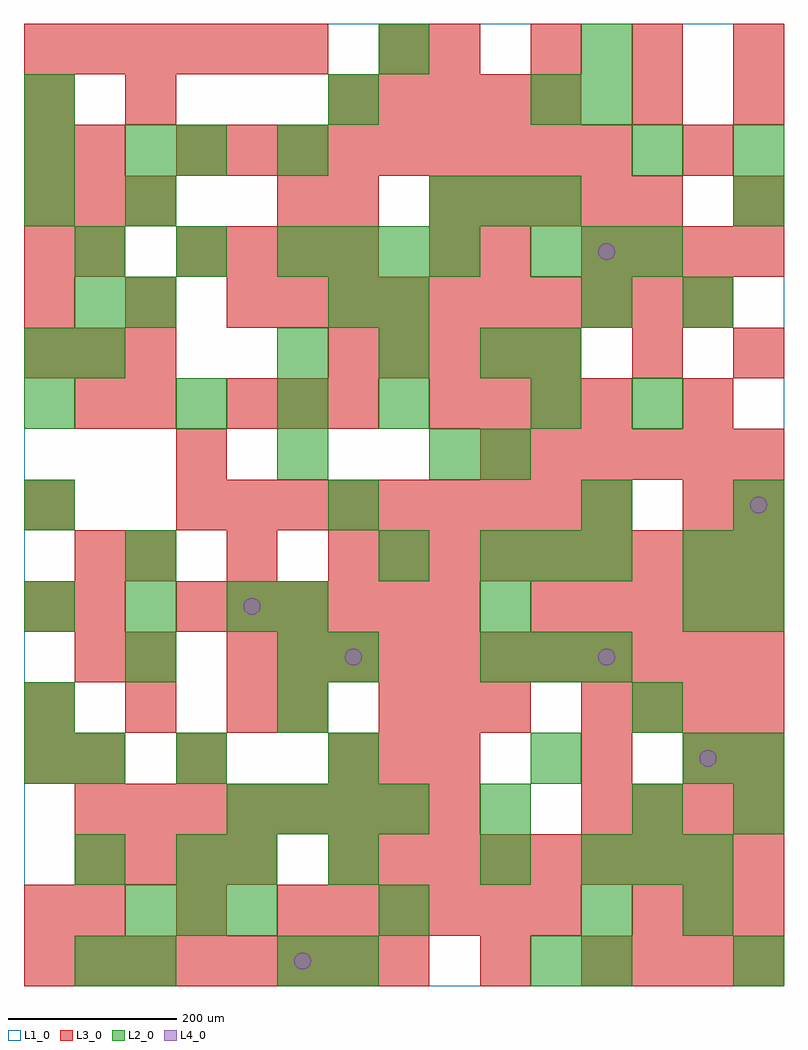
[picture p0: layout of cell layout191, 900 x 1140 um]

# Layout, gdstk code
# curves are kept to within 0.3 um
import gdstk
lib = gdstk.Library(unit=1e-6, precision=1e-09)
def R(c, l, rs):  # rectangles x0, y0, x1, y1
    for r in rs: c.add(gdstk.rectangle(r[:2], r[2:], *l))
def A(c, l, x, y, w, h, nx, ny, dx, dy):  # array of equal rectangles
    R(c, l, [(x+i*dx, y+j*dy, x+i*dx+w, y+j*dy+h) for i in range(nx) for j in range(ny)])
def P(c, l, *ps):  # polygons
    for p in ps: c.add(gdstk.Polygon(p, *l))
L1_0 = (1, 0)
L2_0 = (2, 0)
L3_0 = (3, 0)
L4_0 = (4, 0)

layout191 = lib.new_cell('layout191')
R(layout191, L1_0, [(0,0,900,1140)])
A(layout191, L2_0, 60, 0, 60, 60, 1, 3, 0, 120)
A(layout191, L2_0, 360, 0, 60, 60, 1, 4, 0, 120)
A(layout191, L2_0, 120, 60, 60, 60, 3, 1, 60, 0)
A(layout191, L2_0, 660, 120, 60, 60, 3, 1, 60, 0)
A(layout191, L2_0, 240, 180, 60, 60, 4, 1, 60, 0)
A(layout191, L2_0, 540, 360, 60, 60, 3, 2, 60, 120)
A(layout191, L2_0, 0, 420, 60, 60, 3, 1, 120, 0)
A(layout191, L2_0, 300, 420, 60, 60, 3, 1, 240, 0)
A(layout191, L2_0, 840, 420, 60, 60, 1, 3, 0, 60)
A(layout191, L2_0, 420, 480, 60, 60, 1, 3, 0, 300)
A(layout191, L2_0, 360, 540, 60, 60, 1, 3, 0, 240)
A(layout191, L2_0, 660, 540, 60, 60, 1, 3, 0, 240)
A(layout191, L2_0, 180, 660, 60, 60, 3, 1, 120, 0)
A(layout191, L2_0, 300, 720, 60, 60, 3, 1, 120, 0)
A(layout191, L2_0, 60, 840, 60, 60, 3, 1, 120, 0)
A(layout191, L2_0, 360, 840, 60, 60, 3, 1, 60, 0)
A(layout191, L2_0, 600, 840, 60, 60, 3, 1, 60, 0)
A(layout191, L2_0, 0, 900, 60, 60, 1, 3, 0, 60)
A(layout191, L2_0, 480, 900, 60, 60, 3, 1, 60, 0)
R(layout191, L2_0, [(120,0,180,60), (300,0,360,60), (600,0,660,60), (660,0,720,60), (840,0,900,60), (420,60,480,120), (660,60,720,120), (780,60,840,120), (180,120,240,180), (240,120,300,180), (540,120,600,180), (540,180,600,240), (720,180,780,240), (840,180,900,240), (0,240,60,300), (180,240,240,300), (600,240,660,300), (780,240,840,300), (840,240,900,300), (0,300,60,360), (300,300,360,360), (720,300,780,360), (120,360,180,420), (300,360,360,420), (120,480,180,540), (780,480,840,540), (0,540,60,600), (300,600,360,660), (480,600,540,660), (540,600,600,660), (0,660,60,720), (600,660,660,720), (720,660,780,720), (0,720,60,780), (60,720,120,780), (600,720,660,780), (60,780,120,840), (120,780,180,840), (780,780,840,840), (120,900,180,960), (840,900,900,960), (120,960,180,1020), (180,960,240,1020), (300,960,360,1020), (720,960,780,1020), (840,960,900,1020), (600,1020,660,1080), (660,1080,720,1140)])
A(layout191, L3_0, 0, 0, 60, 60, 8, 1, 60, 0)
A(layout191, L3_0, 660, 0, 60, 60, 4, 2, 60, 180)
A(layout191, L3_0, 0, 60, 60, 60, 1, 3, 0, 180)
A(layout191, L3_0, 60, 60, 60, 60, 3, 1, 120, 0)
A(layout191, L3_0, 360, 60, 60, 60, 5, 2, 60, 660)
A(layout191, L3_0, 720, 60, 60, 60, 3, 1, 60, 0)
A(layout191, L3_0, 60, 120, 60, 60, 4, 1, 60, 0)
A(layout191, L3_0, 360, 120, 60, 60, 9, 1, 60, 0)
A(layout191, L3_0, 60, 180, 60, 60, 8, 1, 60, 0)
A(layout191, L3_0, 360, 240, 60, 60, 3, 1, 60, 0)
A(layout191, L3_0, 0, 300, 60, 60, 3, 2, 120, 480)
A(layout191, L3_0, 420, 300, 60, 60, 3, 1, 60, 0)
A(layout191, L3_0, 660, 300, 60, 60, 4, 2, 60, 540)
A(layout191, L3_0, 60, 360, 60, 60, 1, 3, 0, 60)
A(layout191, L3_0, 240, 360, 60, 60, 11, 1, 60, 0)
A(layout191, L3_0, 180, 420, 60, 60, 6, 1, 60, 0)
A(layout191, L3_0, 600, 420, 60, 60, 5, 1, 60, 0)
A(layout191, L3_0, 120, 480, 60, 60, 3, 1, 120, 0)
A(layout191, L3_0, 420, 480, 60, 60, 8, 1, 60, 0)
A(layout191, L3_0, 180, 540, 60, 60, 9, 2, 60, 420)
A(layout191, L3_0, 840, 540, 60, 60, 1, 3, 0, 180)
A(layout191, L3_0, 540, 600, 60, 60, 6, 1, 60, 0)
A(layout191, L3_0, 240, 660, 60, 60, 3, 1, 60, 0)
A(layout191, L3_0, 480, 660, 60, 60, 4, 1, 60, 0)
A(layout191, L3_0, 0, 720, 60, 60, 3, 2, 60, 180)
A(layout191, L3_0, 300, 780, 60, 60, 9, 1, 60, 0)
A(layout191, L3_0, 180, 840, 60, 60, 4, 1, 60, 0)
A(layout191, L3_0, 480, 900, 60, 60, 5, 1, 60, 0)
A(layout191, L3_0, 360, 1020, 60, 60, 5, 1, 60, 0)
A(layout191, L3_0, 0, 1080, 60, 60, 6, 1, 60, 0)
A(layout191, L3_0, 480, 1080, 60, 60, 4, 1, 120, 0)
R(layout191, L3_0, [(540,0,600,60), (60,240,120,300), (180,240,240,300), (660,240,720,300), (780,240,840,300), (840,240,900,300), (300,300,360,360), (120,360,180,420), (0,540,60,600), (780,540,840,600), (180,600,240,660), (60,660,120,720), (120,660,180,720), (780,660,840,720), (720,720,780,780), (0,840,60,900), (60,840,120,900), (480,840,540,900), (540,840,600,900), (300,900,360,960), (360,900,420,960), (0,960,60,1020), (60,960,120,1020), (780,960,840,1020), (0,1020,60,1080), (120,1020,180,1080), (720,1020,780,1080), (840,1020,900,1080), (420,1080,480,1140)])
P(layout191, L4_0, [(280,450),(279.239,453.827),(277.071,457.071),(273.827,459.239),(270,460),(266.173,459.239),(262.929,457.071),(260.761,453.827),(260,450),(260.761,446.173),(262.929,442.929),(266.173,440.761),(270,440),(273.827,440.761),(277.071,442.929),(279.239,446.173)],
  [(340,30),(339.239,33.827),(337.071,37.071),(333.827,39.239),(330,40),(326.173,39.239),(322.929,37.071),(320.761,33.827),(320,30),(320.761,26.173),(322.929,22.929),(326.173,20.761),(330,20),(333.827,20.761),(337.071,22.929),(339.239,26.173)],
  [(400,390),(399.239,393.827),(397.071,397.071),(393.827,399.239),(390,400),(386.173,399.239),(382.929,397.071),(380.761,393.827),(380,390),(380.761,386.173),(382.929,382.929),(386.173,380.761),(390,380),(393.827,380.761),(397.071,382.929),(399.239,386.173)],
  [(700,390),(699.239,393.827),(697.071,397.071),(693.827,399.239),(690,400),(686.173,399.239),(682.929,397.071),(680.761,393.827),(680,390),(680.761,386.173),(682.929,382.929),(686.173,380.761),(690,380),(693.827,380.761),(697.071,382.929),(699.239,386.173)],
  [(700,870),(699.239,873.827),(697.071,877.071),(693.827,879.239),(690,880),(686.173,879.239),(682.929,877.071),(680.761,873.827),(680,870),(680.761,866.173),(682.929,862.929),(686.173,860.761),(690,860),(693.827,860.761),(697.071,862.929),(699.239,866.173)],
  [(820,270),(819.239,273.827),(817.071,277.071),(813.827,279.239),(810,280),(806.173,279.239),(802.929,277.071),(800.761,273.827),(800,270),(800.761,266.173),(802.929,262.929),(806.173,260.761),(810,260),(813.827,260.761),(817.071,262.929),(819.239,266.173)],
  [(880,570),(879.239,573.827),(877.071,577.071),(873.827,579.239),(870,580),(866.173,579.239),(862.929,577.071),(860.761,573.827),(860,570),(860.761,566.173),(862.929,562.929),(866.173,560.761),(870,560),(873.827,560.761),(877.071,562.929),(879.239,566.173)])

lib.write_gds('layout191.gds')
